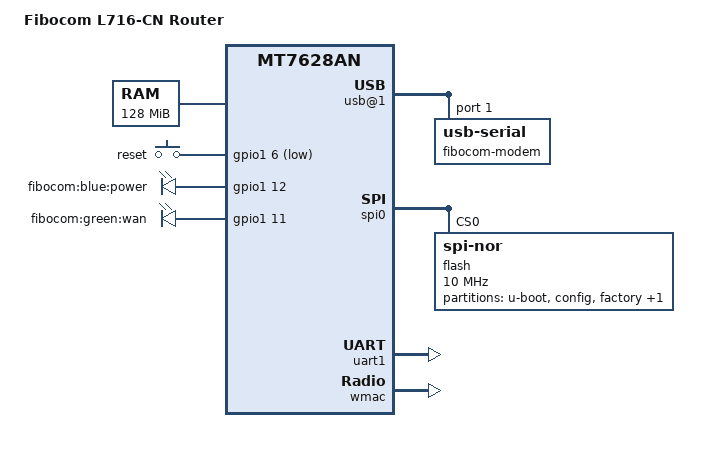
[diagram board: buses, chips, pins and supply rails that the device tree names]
/dts-v1/;

#include "mt7628an.dtsi"

/ {
	compatible = "fibocom,l716-router", "mediatek,mt7628an-soc";
	model = "Fibocom L716-CN Router";

	chosen {
		bootargs = "console=ttyS0,57600";
	};

	memory@0 {
		device_type = "memory";
		reg = <0x0 0x8000000>;
	};

	usb-phy {
		status = "okay";
	};

	gpio-keys-polled {
		compatible = "gpio-keys-polled";
		poll-interval = <20>;

		reset {
			label = "reset";
			gpios = <&gpio1 6 GPIO_ACTIVE_LOW>;
			linux,code = <KEY_RESTART>;
		};
	};

	gpio-leds {
		compatible = "gpio-leds";

		power {
			label = "fibocom:blue:power";
			gpios = <&gpio1 12 GPIO_ACTIVE_HIGH>;
		};

		wan {
			label = "fibocom:green:wan";
			gpios = <&gpio1 11 GPIO_ACTIVE_HIGH>;
		};
	};

	usb@1 {
		status = "okay";
		#address-cells = <1>;
		#size-cells = <0>;

		/* Port untuk Fibocom L716-CN */
		fibocom-modem@1 {
			compatible = "usb-serial";
			reg = <1>;
			/* AT command port */
			ch341-uart = <&uart1>;
		};
	};
};

&spi0 {
	status = "okay";

	flash@0 {
		compatible = "jedec,spi-nor";
		reg = <0>;
		spi-max-frequency = <10000000>;

		partitions {
			compatible = "fixed-partitions";
			#address-cells = <1>;
			#size-cells = <1>;

			partition@0 {
				label = "u-boot";
				reg = <0x0 0x30000>;
				read-only;
			};

			partition@30000 {
				label = "config";
				reg = <0x30000 0x10000>;
				read-only;
			};

			factory: partition@40000 {
				label = "factory";
				reg = <0x40000 0x10000>;
				read-only;
			};

			partition@50000 {
				compatible = "denx,uimage";
				label = "firmware";
				reg = <0x50000 0x7b0000>;
			};
		};
	};
};

&uart1 {
	status = "okay";
};

&ethernet {
	mtd-mac-address = <&factory 0x28>;
};

&wmac {
	status = "okay";
	mediatek,mtd-eeprom = <&factory 0x0>;
};
